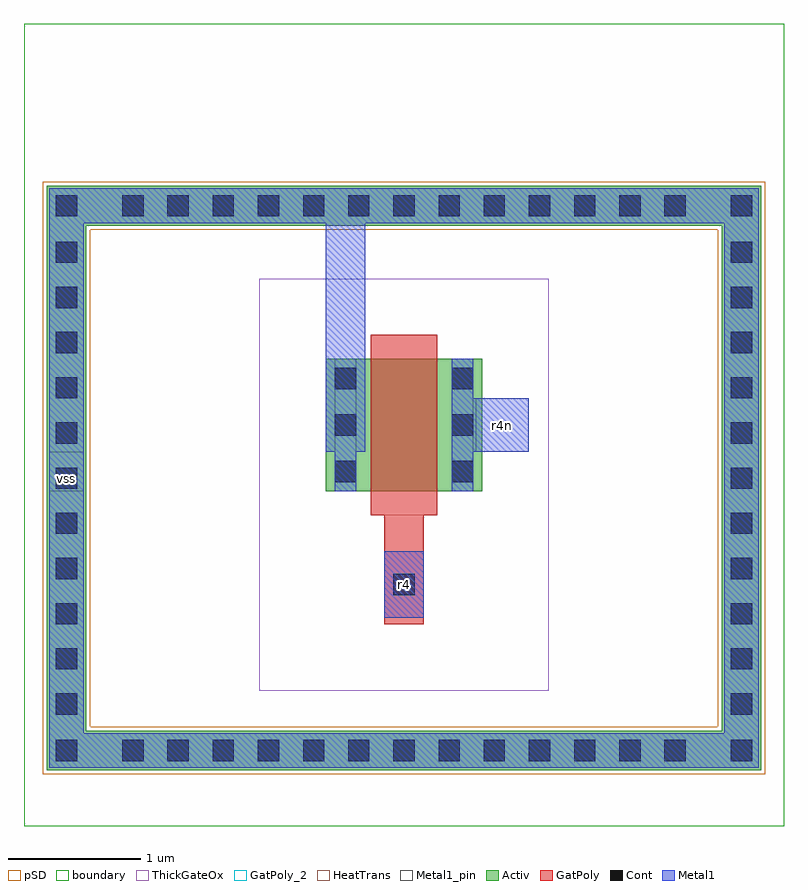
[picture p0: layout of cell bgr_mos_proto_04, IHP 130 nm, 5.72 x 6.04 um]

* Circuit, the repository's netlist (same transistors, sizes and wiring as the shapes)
.subckt bgr_mos_proto_04 r4n r4 vss
MUNIT r4n r4 vss vss sg13_hv_nmos l=0.5u w=1u as=0.34p ad=0.34p ps=2.68u pd=2.68u rfmode=0
.ends bgr_mos_proto_04

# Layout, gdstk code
import gdstk
lib = gdstk.Library(unit=1e-6, precision=1e-09)
def R(c, l, rs):  # rectangles x0, y0, x1, y1
    for r in rs: c.add(gdstk.rectangle(r[:2], r[2:], *l))
def A(c, l, x, y, w, h, nx, ny, dx, dy):  # array of equal rectangles
    R(c, l, [(x+i*dx, y+j*dy, x+i*dx+w, y+j*dy+h) for i in range(nx) for j in range(ny)])
def P(c, l, *ps):  # polygons
    for p in ps: c.add(gdstk.Polygon(p, *l))
Activ = (1, 0)
GatPoly = (5, 0)
GatPoly_2 = (5, 2)
Cont = (6, 0)
Metal1 = (8, 0)
Metal1_pin = (8, 2)
pSD = (14, 0)
ThickGateOx = (44, 0)
HeatTrans = (51, 0)
boundary = (189, 4)

nmoshv = lib.new_cell('nmosHV')
R(nmoshv, Activ, [(0,0,0.3,0.3), (0,0,1.18,1), (0.88,0,1.18,0.3)])
R(nmoshv, GatPoly, [(0.34,-0.18,0.84,1.18)])
R(nmoshv, GatPoly_2, [(0.34,-0.18,0.84,1.18)])
A(nmoshv, Cont, 0.07, 0.07, 0.16, 0.16, 1, 3, 0, 0.35)
A(nmoshv, Cont, 0.95, 0.07, 0.16, 0.16, 1, 3, 0, 0.35)
R(nmoshv, Metal1, [(0.07,0,0.23,1), (0.95,0,1.11,1)])
R(nmoshv, Metal1_pin, [(0.07,0,0.23,1), (0.95,0,1.11,1)])
R(nmoshv, ThickGateOx, [(-0.27,-0.52,1.45,1.52)])
R(nmoshv, HeatTrans, [(0.34,-0.18,0.84,1.18)])
nmoshv.add(gdstk.Label('nmosHV', (0.59,0.5), layer=63, texttype=0))
nmoshv.add(gdstk.Label('nmosHV', (0.59,0.5), layer=51, texttype=0))

bgr_mos_proto_04 = lib.new_cell('bgr_mos_proto_04')
P(bgr_mos_proto_04, Activ, [(7.9,7.9),(7.9,12),(8.2,12),(8.2,8.2),(12.98,8.2),(12.98,12),(7.9,12),(7.9,12.3),(13.28,12.3),(13.28,7.9)])
R(bgr_mos_proto_04, GatPoly, [(10.44,9,10.74,9.82)])
A(bgr_mos_proto_04, Cont, 8.47, 7.97, 0.16, 0.16, 13, 2, 0.34, 4.1)
A(bgr_mos_proto_04, Cont, 7.97, 8.32, 0.16, 0.16, 1, 11, 0, 0.34)
A(bgr_mos_proto_04, Cont, 13.05, 8.32, 0.16, 0.16, 1, 11, 0, 0.34)
R(bgr_mos_proto_04, Cont, [(7.97,7.97,8.13,8.13), (13.05,7.97,13.21,8.13), (10.51,9.22,10.67,9.38), (7.97,12.07,8.13,12.23), (13.05,12.07,13.21,12.23)])
R(bgr_mos_proto_04, Metal1, [(10.44,9.05,10.74,9.55), (10,10.3,10.3,12.28), (10.95,10.3,11.53,10.7)])
P(bgr_mos_proto_04, Metal1, [(7.92,7.92),(7.92,12.02),(8.18,12.02),(8.18,8.18),(13,8.18),(13,12.02),(7.92,12.02),(7.92,12.28),(13.26,12.28),(13.26,7.92)])
R(bgr_mos_proto_04, Metal1_pin, [(10.44,9.05,10.74,9.55), (7.92,10,8.18,10.3), (11.13,10.3,11.53,10.7)])
P(bgr_mos_proto_04, pSD, [(7.87,7.87),(7.87,11.97),(8.23,11.97),(8.23,8.23),(12.95,8.23),(12.95,11.97),(7.87,11.97),(7.87,12.33),(13.31,12.33),(13.31,7.87)])
R(bgr_mos_proto_04, ThickGateOx, [(9.5,8.5,11.68,11.6)])
R(bgr_mos_proto_04, boundary, [(7.73,7.48,13.45,13.52)])
bgr_mos_proto_04.add(gdstk.Reference(nmoshv, (10,10)))
bgr_mos_proto_04.add(gdstk.Label('r4', (10.59,9.3), layer=8, texttype=25))
bgr_mos_proto_04.add(gdstk.Label('r4n', (11.33,10.5), layer=8, texttype=25))
bgr_mos_proto_04.add(gdstk.Label('vss', (8.05,10.1), layer=8, texttype=25))

lib.write_gds('bgr_mos_proto_04.gds')
